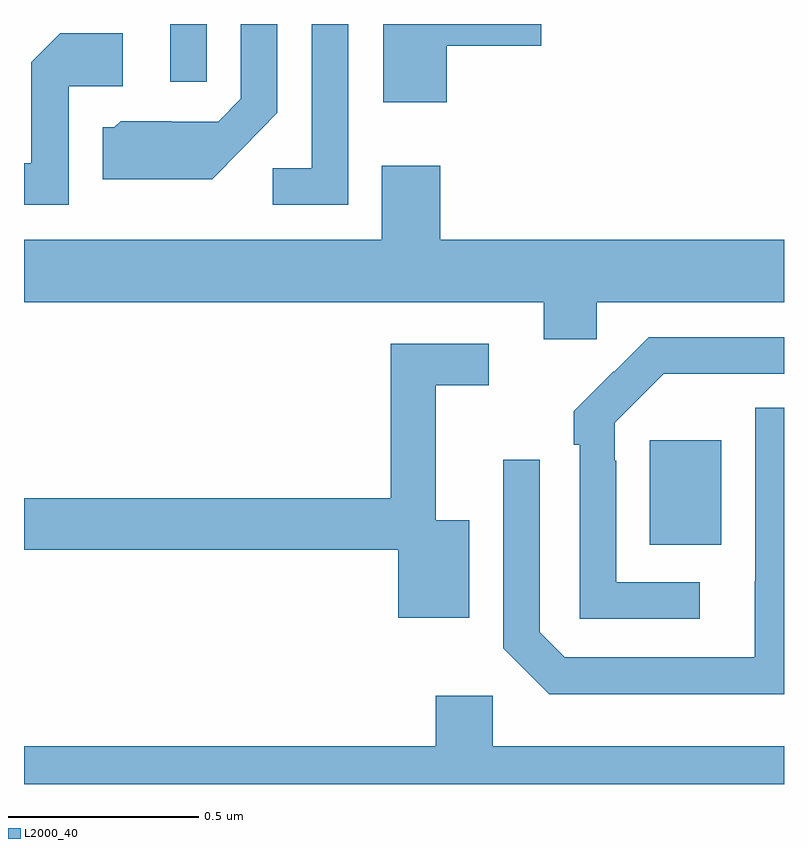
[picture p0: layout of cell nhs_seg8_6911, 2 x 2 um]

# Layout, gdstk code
import gdstk
lib = gdstk.Library(unit=1e-6, precision=1e-09)
def R(c, l, rs):  # rectangles x0, y0, x1, y1
    for r in rs: c.add(gdstk.rectangle(r[:2], r[2:], *l))
def P(c, l, *ps):  # polygons
    for p in ps: c.add(gdstk.Polygon(p, *l))
L2000_40 = (2000, 40)

nhs_seg8_6911 = lib.new_cell('nhs_seg8_6911')
R(nhs_seg8_6911, L2000_40, [(204.647,1114.529,204.835,1114.804), (203.385,1115.748,203.481,1115.9)])
P(nhs_seg8_6911, L2000_40, [(203.575,1115.573),(203.667,1115.666),(203.667,1115.9),(203.571,1115.9),(203.571,1115.703),(203.511,1115.643),(203.388,1115.643),(203.388,1115.644),(203.254,1115.644),(203.238,1115.628),(203.207,1115.628),(203.207,1115.492),(203.495,1115.492)],
  [(203.853,1115.9),(203.757,1115.9),(203.757,1115.52),(203.655,1115.52),(203.655,1115.424),(203.853,1115.424)],
  [(204.112,1115.843),(204.361,1115.843),(204.361,1115.9),(203.945,1115.9),(203.945,1115.694),(204.112,1115.694)],
  [(203.118,1115.736),(203.26,1115.736),(203.26,1115.876),(203.095,1115.876),(203.019,1115.8),(203.019,1115.533),(203,1115.533),(203,1115.424),(203.118,1115.424)],
  [(204.507,1115.168),(205,1115.168),(205,1115.332),(204.095,1115.332),(204.095,1115.527),(203.942,1115.527),(203.942,1115.332),(203,1115.332),(203,1115.168),(204.368,1115.168),(204.368,1115.07),(204.507,1115.07)],
  [(204.778,1114.431),(204.558,1114.431),(204.558,1114.751),(204.555,1114.751),(204.555,1114.851),(204.684,1114.98),(205,1114.98),(205,1115.076),(204.644,1115.076),(204.553,1114.985),(204.552,1114.986),(204.447,1114.881),(204.447,1114.793),(204.462,1114.793),(204.462,1114.335),(204.778,1114.335)],
  [(204.172,1114.594),(204.083,1114.594),(204.083,1114.95),(204.223,1114.95),(204.223,1115.058),(203.965,1115.058),(203.965,1114.652),(203,1114.652),(203,1114.516),(203.985,1114.516),(203.985,1114.337),(204.172,1114.337)],
  [(205,1114.89),(204.924,1114.89),(204.924,1114.433),(204.923,1114.433),(204.923,1114.233),(204.423,1114.233),(204.357,1114.299),(204.357,1114.753),(204.261,1114.753),(204.261,1114.257),(204.382,1114.136),(205,1114.136)],
  [(205,1114),(204.234,1114),(204.234,1114.132),(204.083,1114.132),(204.083,1114),(203,1114),(203,1113.9),(205,1113.9)])

lib.write_gds('nhs_seg8_6911.gds')
